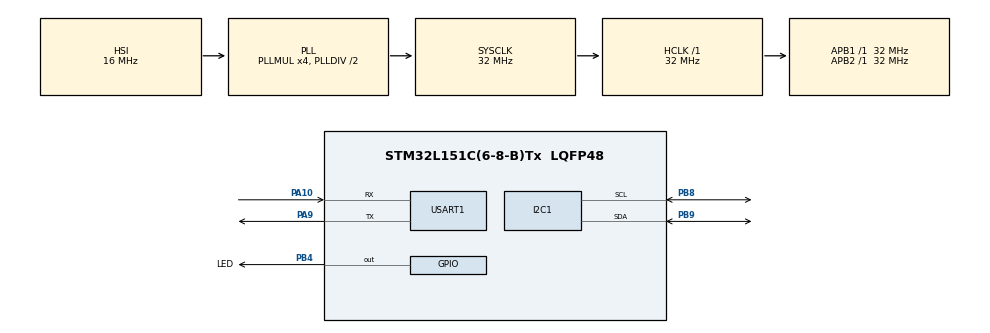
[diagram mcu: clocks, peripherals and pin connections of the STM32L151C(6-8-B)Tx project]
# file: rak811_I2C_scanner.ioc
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Mcu.Family=STM32L1
Mcu.Name=STM32L151C(6-8-B)Tx
Mcu.Package=LQFP48
NVIC.PriorityGroup=NVIC_PRIORITYGROUP_4
PA10.Mode=Asynchronous
PA10.Signal=USART1_RX
PA13.Mode=Serial_Wire
PA13.Signal=SYS_JTMS-SWDIO
PA14.Mode=Serial_Wire
PA14.Signal=SYS_JTCK-SWCLK
PA9.Mode=Asynchronous
PA9.Signal=USART1_TX
PB4.GPIO_Label=LED
PB4.GPIO_Speed=GPIO_SPEED_FREQ_HIGH
PB4.PinState=GPIO_PIN_SET
PB4.Signal=GPIO_Output
PB8.Mode=I2C
PB8.Signal=I2C1_SCL
PB9.Mode=I2C
PB9.Signal=I2C1_SDA
PC14-OSC32_IN.Mode=LSE-External-Oscillator
PC14-OSC32_IN.Signal=RCC_OSC32_IN
PC15-OSC32_OUT.Mode=LSE-External-Oscillator
PC15-OSC32_OUT.Signal=RCC_OSC32_OUT
ProjectManager.HeapSize=0x200
ProjectManager.StackSize=0x400
ProjectManager.TargetToolchain=SW4STM32
RCC.48MHZClocksFreq_Value=32000000
RCC.AHBFreq_Value=32000000
RCC.APB1Freq_Value=32000000
RCC.APB1TimFreq_Value=32000000
RCC.APB2Freq_Value=32000000
RCC.APB2TimFreq_Value=32000000
RCC.HCLKFreq_Value=32000000
RCC.HSE_VALUE=24000000
RCC.HSI_VALUE=16000000
RCC.MSI_VALUE=2097000
RCC.PLLMUL=RCC_PLL_MUL4
RCC.SYSCLKFreq_VALUE=32000000
RCC.SYSCLKSource=RCC_SYSCLKSOURCE_PLLCLK
RCC.VCOOutputFreq_Value=64000000
USART1.VirtualMode=VM_ASYNC
board=custom

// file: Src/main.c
/**
  ******************************************************************************
  * @file           : main.c
  * @brief          : Main program body
  ******************************************************************************
  ** This notice applies to any and all portions of this file
  * that are not between comment pairs USER CODE BEGIN and
  * USER CODE END. Other portions of this file, whether
  * inserted by the user or by software development tools
  * are owned by their respective copyright owners.
  *
  * COPYRIGHT(c) 2018 STMicroelectronics
  *
  * Redistribution and use in source and binary forms, with or without modification,
  * are permitted provided that the following conditions are met:
  *   1. Redistributions of source code must retain the above copyright notice,
  *      this list of conditions and the following disclaimer.
  *   2. Redistributions in binary form must reproduce the above copyright notice,
  *      this list of conditions and the following disclaimer in the documentation
  *      and/or other materials provided with the distribution.
  *   3. Neither the name of STMicroelectronics nor the names of its contributors
  *      may be used to endorse or promote products derived from this software
  *      without specific prior written permission.
  *
  * THIS SOFTWARE IS PROVIDED BY THE COPYRIGHT HOLDERS AND CONTRIBUTORS "AS IS"
  * AND ANY EXPRESS OR IMPLIED WARRANTIES, INCLUDING, BUT NOT LIMITED TO, THE
  * IMPLIED WARRANTIES OF MERCHANTABILITY AND FITNESS FOR A PARTICULAR PURPOSE ARE
  * DISCLAIMED. IN NO EVENT SHALL THE COPYRIGHT HOLDER OR CONTRIBUTORS BE LIABLE
  * FOR ANY DIRECT, INDIRECT, INCIDENTAL, SPECIAL, EXEMPLARY, OR CONSEQUENTIAL
  * DAMAGES (INCLUDING, BUT NOT LIMITED TO, PROCUREMENT OF SUBSTITUTE GOODS OR
  * SERVICES; LOSS OF USE, DATA, OR PROFITS; OR BUSINESS INTERRUPTION) HOWEVER
  * CAUSED AND ON ANY THEORY OF LIABILITY, WHETHER IN CONTRACT, STRICT LIABILITY,
  * OR TORT (INCLUDING NEGLIGENCE OR OTHERWISE) ARISING IN ANY WAY OUT OF THE USE
  * OF THIS SOFTWARE, EVEN IF ADVISED OF THE POSSIBILITY OF SUCH DAMAGE.
  *
  ******************************************************************************
  */
#include "main.h"
#include "stm32l1xx_hal.h"

/* USER CODE BEGIN Includes */
#include <string.h>
/* USER CODE END Includes */

I2C_HandleTypeDef hi2c1;

UART_HandleTypeDef huart1;

/* USER CODE BEGIN PV */
/* Private variables ---------------------------------------------------------*/

/* USER CODE END PV */

void SystemClock_Config(void);
static void MX_GPIO_Init(void);
static void MX_USART1_UART_Init(void);
static void MX_I2C1_Init(void);

/* USER CODE BEGIN PFP */
/* Private function prototypes -----------------------------------------------*/
/* Direct printf to output somewhere */

#ifdef __GNUC__
#define PUTCHAR_PROTOTYPE int __io_putchar(int ch)
#else
#define PUTCHAR_PROTOTYPE int fputc(int ch, FILE *f)
#endif /* __GNUC__ */

/* USER CODE END PFP */

int main(void)
{
  /* USER CODE BEGIN 1 */
	int i,j;
	char *welcome = "I2C Bus Scan\r\n\n";
	char *header = "      0  1  2  3  4  5  6  7  8  9  a  b  c  d  e  f\r\n";
	char *waiting = "\r\n\nWaiting for 10 s until next scan\r\n\n";
	char i2cAddressBuf[5];
	char *notConnected = "--";
	char *blank=" ";

	HAL_StatusTypeDef retCode;
  /* USER CODE END 1 */

  /* MCU Configuration----------------------------------------------------------*/

  /* Reset of all peripherals, Initializes the Flash interface and the Systick. */
  HAL_Init();

  /* Configure the system clock */
  SystemClock_Config();

  /* Initialize all configured peripherals */
  MX_GPIO_Init();
  MX_USART1_UART_Init();
  MX_I2C1_Init();
  /* USER CODE BEGIN 2 */
  HAL_UART_Transmit(&huart1,(uint8_t *)welcome,(uint16_t)strlen(welcome),100);

  HAL_UART_Transmit(&huart1,(uint8_t *)header,(uint16_t)strlen(header),100);
  /* USER CODE END 2 */

  /* Infinite loop */
  /* USER CODE BEGIN WHILE */
  while (1) {
	  for (i=0;i<8;i++) {
		  sprintf(i2cAddressBuf,"%02x:",i);
		  HAL_UART_Transmit(&huart1,(uint8_t *)i2cAddressBuf,(uint16_t)strlen(i2cAddressBuf),100);
		  for (j=0; j<16; j++) {
			  HAL_UART_Transmit(&huart1,(uint8_t *)blank,(uint16_t)strlen(blank),100);
			  if (i*16+j == 0) {
				  HAL_UART_Transmit(&huart1,(uint8_t *)notConnected,(uint16_t)strlen(notConnected),100);
				  continue;
			  }
			  retCode = HAL_I2C_IsDeviceReady(&hi2c1, (uint16_t)(((i*16)+j)<<1), 10, 200);
			  if (retCode != HAL_OK) {                                    // HAL_ERROR or HAL_BUSY or HAL_TIMEOUT
				  HAL_UART_Transmit(&huart1,(uint8_t *)notConnected,(uint16_t)strlen(notConnected),100);
			  }
			  else {
				  sprintf(i2cAddressBuf,"%02x",i*16+j);
				  HAL_UART_Transmit(&huart1,(uint8_t *)i2cAddressBuf,(uint16_t)strlen(i2cAddressBuf),100);
			  }
		  }
		  HAL_UART_Transmit(&huart1,(uint8_t *)"\r\n",(uint16_t)2,100);
	  }
	  HAL_UART_Transmit(&huart1,(uint8_t *)waiting,(uint16_t)strlen(waiting),100);
	  HAL_Delay(10000);

	  /* USER CODE END WHILE */

  }

}

void SystemClock_Config(void)
{

  RCC_OscInitTypeDef RCC_OscInitStruct;
  RCC_ClkInitTypeDef RCC_ClkInitStruct;

    /**Configure the main internal regulator output voltage
    */
  __HAL_PWR_VOLTAGESCALING_CONFIG(PWR_REGULATOR_VOLTAGE_SCALE1);

    /**Initializes the CPU, AHB and APB busses clocks
    */
  RCC_OscInitStruct.OscillatorType = RCC_OSCILLATORTYPE_HSI;
  RCC_OscInitStruct.HSIState = RCC_HSI_ON;
  RCC_OscInitStruct.HSICalibrationValue = 16;
  RCC_OscInitStruct.PLL.PLLState = RCC_PLL_ON;
  RCC_OscInitStruct.PLL.PLLSource = RCC_PLLSOURCE_HSI;
  RCC_OscInitStruct.PLL.PLLMUL = RCC_PLL_MUL4;
  RCC_OscInitStruct.PLL.PLLDIV = RCC_PLL_DIV2;
  if (HAL_RCC_OscConfig(&RCC_OscInitStruct) != HAL_OK)
  {
    _Error_Handler(__FILE__, __LINE__);
  }

    /**Initializes the CPU, AHB and APB busses clocks
    */
  RCC_ClkInitStruct.ClockType = RCC_CLOCKTYPE_HCLK|RCC_CLOCKTYPE_SYSCLK
                              |RCC_CLOCKTYPE_PCLK1|RCC_CLOCKTYPE_PCLK2;
  RCC_ClkInitStruct.SYSCLKSource = RCC_SYSCLKSOURCE_PLLCLK;
  RCC_ClkInitStruct.AHBCLKDivider = RCC_SYSCLK_DIV1;
  RCC_ClkInitStruct.APB1CLKDivider = RCC_HCLK_DIV1;
  RCC_ClkInitStruct.APB2CLKDivider = RCC_HCLK_DIV1;

  if (HAL_RCC_ClockConfig(&RCC_ClkInitStruct, FLASH_LATENCY_1) != HAL_OK)
  {
    _Error_Handler(__FILE__, __LINE__);
  }

    /**Configure the Systick interrupt time
    */
  HAL_SYSTICK_Config(HAL_RCC_GetHCLKFreq()/1000);

    /**Configure the Systick
    */
  HAL_SYSTICK_CLKSourceConfig(SYSTICK_CLKSOURCE_HCLK);

  /* SysTick_IRQn interrupt configuration */
  HAL_NVIC_SetPriority(SysTick_IRQn, 0, 0);
}

/* I2C1 init function */
static void MX_I2C1_Init(void)
{

  hi2c1.Instance = I2C1;
  hi2c1.Init.ClockSpeed = 100000;
  hi2c1.Init.DutyCycle = I2C_DUTYCYCLE_2;
  hi2c1.Init.OwnAddress1 = 0;
  hi2c1.Init.AddressingMode = I2C_ADDRESSINGMODE_7BIT;
  hi2c1.Init.DualAddressMode = I2C_DUALADDRESS_DISABLE;
  hi2c1.Init.OwnAddress2 = 0;
  hi2c1.Init.GeneralCallMode = I2C_GENERALCALL_DISABLE;
  hi2c1.Init.NoStretchMode = I2C_NOSTRETCH_DISABLE;
  if (HAL_I2C_Init(&hi2c1) != HAL_OK)
  {
    _Error_Handler(__FILE__, __LINE__);
  }

}

/* USART1 init function */
static void MX_USART1_UART_Init(void)
{

  huart1.Instance = USART1;
  huart1.Init.BaudRate = 115200;
  huart1.Init.WordLength = UART_WORDLENGTH_8B;
  huart1.Init.StopBits = UART_STOPBITS_1;
  huart1.Init.Parity = UART_PARITY_NONE;
  huart1.Init.Mode = UART_MODE_TX_RX;
  huart1.Init.HwFlowCtl = UART_HWCONTROL_NONE;
  huart1.Init.OverSampling = UART_OVERSAMPLING_16;
  if (HAL_UART_Init(&huart1) != HAL_OK)
  {
    _Error_Handler(__FILE__, __LINE__);
  }

}

/** Configure pins as
        * Analog
        * Input
        * Output
        * EVENT_OUT
        * EXTI
*/
static void MX_GPIO_Init(void)
{

  GPIO_InitTypeDef GPIO_InitStruct;

  /* GPIO Ports Clock Enable */
  __HAL_RCC_GPIOC_CLK_ENABLE();
  __HAL_RCC_GPIOA_CLK_ENABLE();
  __HAL_RCC_GPIOB_CLK_ENABLE();

  /*Configure GPIO pin Output Level */
  HAL_GPIO_WritePin(LED_GPIO_Port, LED_Pin, GPIO_PIN_SET);

  /*Configure GPIO pin : LED_Pin */
  GPIO_InitStruct.Pin = LED_Pin;
  GPIO_InitStruct.Mode = GPIO_MODE_OUTPUT_PP;
  GPIO_InitStruct.Pull = GPIO_NOPULL;
  GPIO_InitStruct.Speed = GPIO_SPEED_FREQ_HIGH;
  HAL_GPIO_Init(LED_GPIO_Port, &GPIO_InitStruct);

}

void _Error_Handler(char *file, int line)
{
  while(1)
  {
  }
}

/************************ (C) COPYRIGHT STMicroelectronics *****END OF FILE****/
